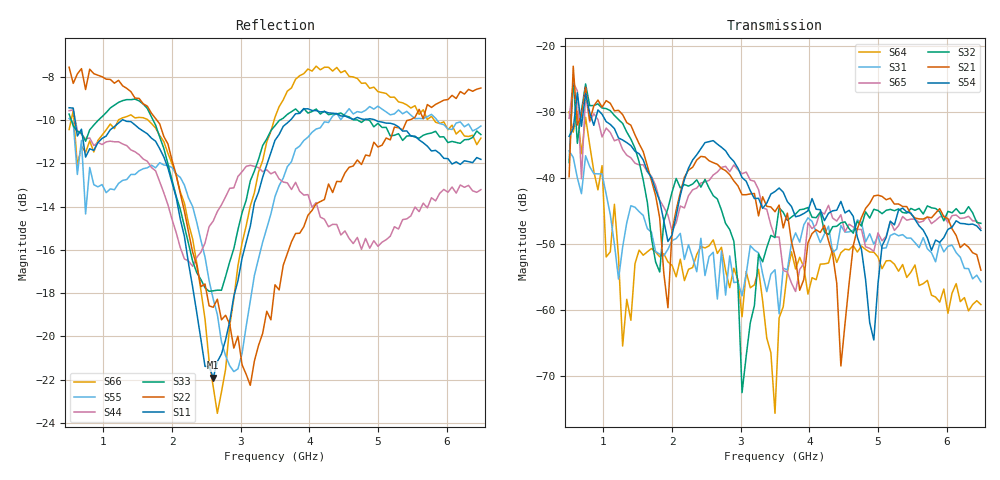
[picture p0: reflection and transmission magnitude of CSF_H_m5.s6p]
!Keysight Technologies,M9804A,MY58100912,A.14.10.03
!Date: Thursday, April 27, 2023 10:28:33
!Correction: S11(C  6-Port  )
!S12(C  6-Port  )
!S13(C  6-Port  )
!S14(C  6-Port  )
!S15(C  6-Port  )
!S16(C  6-Port  )
!S21(C  6-Port  )
!S22(C  6-Port  )
!S23(C  6-Port  )
!S24(C  6-Port  )
!S25(C  6-Port  )
!S26(C  6-Port  )
!S31(C  6-Port  )
!S32(C  6-Port  )
!S33(C  6-Port  )
!S34(C  6-Port  )
!S35(C  6-Port  )
!S36(C  6-Port  )
!S41(C  6-Port  )
!S42(C  6-Port  )
!S43(C  6-Port  )
!S44(C  6-Port  )
!S45(C  6-Port  )
!S46(C  6-Port  )
!S51(C  6-Port  )
!S52(C  6-Port  )
!S53(C  6-Port  )
!S54(C  6-Port  )
!S55(C  6-Port  )
!S56(C  6-Port  )
!S61(C  6-Port  )
!S62(C  6-Port  )
!S63(C  6-Port  )
!S64(C  6-Port  )
!S65(C  6-Port  )
!S66(C  6-Port  )
!S6P File: Measurement: :
# Hz S  RI  R 50
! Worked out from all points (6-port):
!   101 points, 500 MHz to 6.5 GHz, reference 50 ohm
!   strongest paths, dB at 500 MHz, 2 GHz, 3.5 GHz, 5 GHz, 6.5 GHz:
!     S54: -33.7, -48.6, -42.0, -56.0, -47.9
!     S21: -39.8, -48.0, -45.1, -42.6, -53.9
!     S32: -37.6, -42.1, -49.0, -44.9, -46.8
!     S65: -31.0, -48.0, -48.9, -48.3, -47.6
!     S31: -35.9, -49.4, -53.9, -48.8, -55.7
!     S64: -30.0, -53.2, -75.6, -51.9, -59.1
!   lowest |S11| = -21.9 dB at 2.6 GHz (marker M1), VSWR 1.17, Z = 42.8 + j1.87 ohm
!   |S11| at or under -10 dB: 585.6 MHz to 1.275 GHz (689 MHz wide, 74.1 % of centre); 1.291 GHz to 3.726 GHz (2.435 GHz wide, 97.1 % of centre); 4.957 GHz to end of sweep
